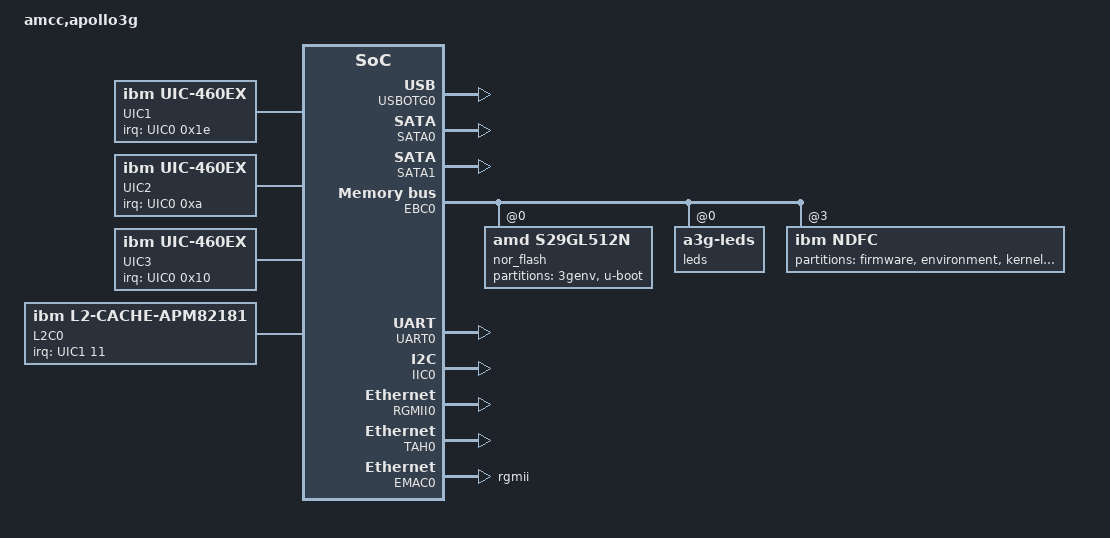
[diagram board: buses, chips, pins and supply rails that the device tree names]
/*
 * Device Tree Source for AMCC Canyonlands (460EX)
 *
 * Copyright 2008 DENX Software Engineering, Stefan Roese <sr@denx.de>
* (c) Copyright 2010 Western Digital Technologies, Inc. All Rights Reserved.
 *
 * This file is licensed under the terms of the GNU General Public
 * License version 2.  This program is licensed "as is" without
 * any warranty of any kind, whether express or implied.
 */

/dts-v1/;

/ {
	#address-cells = <2>;
	#size-cells = <1>;
	model = "amcc,apollo3g";
	compatible = "amcc,apollo3g";
	dcr-parent = <&{/cpus/cpu@0}>;

	aliases {
		ethernet0 = &EMAC0;
		serial0 = &UART0;
	};

	cpus {
		#address-cells = <1>;
		#size-cells = <0>;

		cpu@0 {
			device_type = "cpu";
			model = "PowerPC,apm821xx";
			reg = <0x00000000>;
			clock-frequency = <0>; /* Filled in by U-Boot */
			timebase-frequency = <0>; /* Filled in by U-Boot */
			i-cache-line-size = <32>;
			d-cache-line-size = <32>;
			i-cache-size = <32768>;
			d-cache-size = <32768>;
			dcr-controller;
			dcr-access-method = "native";
			next-level-cache = <&L2C0>;
		};
	};

	memory {
		device_type = "memory";
		reg = <0x00000000 0x00000000 0x00000000>; /* Filled in by U-Boot */
	};

	UIC0: interrupt-controller0 {
		compatible = "ibm,uic-460ex","ibm,uic";
		interrupt-controller;
		cell-index = <0>;
		dcr-reg = <0x0c0 0x009>;
		#address-cells = <0>;
		#size-cells = <0>;
		#interrupt-cells = <2>;
	};

	UIC1: interrupt-controller1 {
		compatible = "ibm,uic-460ex","ibm,uic";
		interrupt-controller;
		cell-index = <1>;
		dcr-reg = <0x0d0 0x009>;
		#address-cells = <0>;
		#size-cells = <0>;
		#interrupt-cells = <2>;
		interrupts = <0x1e 0x4 0x1f 0x4>; /* cascade */
		interrupt-parent = <&UIC0>;
	};

	UIC2: interrupt-controller2 {
		compatible = "ibm,uic-460ex","ibm,uic";
		interrupt-controller;
		cell-index = <2>;
		dcr-reg = <0x0e0 0x009>;
		#address-cells = <0>;
		#size-cells = <0>;
		#interrupt-cells = <2>;
		interrupts = <0xa 0x4 0xb 0x4>; /* cascade */
		interrupt-parent = <&UIC0>;
	};

	UIC3: interrupt-controller3 {
		compatible = "ibm,uic-460ex","ibm,uic";
		interrupt-controller;
		cell-index = <3>;
		dcr-reg = <0x0f0 0x009>;
		#address-cells = <0>;
		#size-cells = <0>;
		#interrupt-cells = <2>;
		interrupts = <0x10 0x4 0x11 0x4>; /* cascade */
		interrupt-parent = <&UIC0>;
	};

	OCM1: ocm@400040000 {
		compatible = "ibm,ocm";
		status = "enabled";
		cell-index = <1>;
		/* configured in U-Boot */
		reg = <4 0x00040000 0x8000>; /* 32K */
	};

	/* TODO: Check this for Maui */
	SDR0: sdr {
		compatible = "ibm,sdr-460ex";
		dcr-reg = <0x00e 0x002>;
	};

	/* TODO: Change for Maui */
	CPR0: cpr {
		compatible = "ibm,cpr-460ex";
		dcr-reg = <0x00c 0x002>;
	};

	L2C0: l2c {
		compatible = "ibm,l2-cache-apm82181", "ibm,l2-cache";
		dcr-reg = <0x020 0x008	
			   0x030 0x008>;	
		cache-line-size = <32>;		
		cache-size = <262144>;		
		interrupt-parent = <&UIC1>;
		interrupts = <11 1>;
	};

	plb {
		compatible = "ibm,plb-460ex", "ibm,plb4";
		#address-cells = <2>;
		#size-cells = <1>;
		ranges;
		clock-frequency = <0>; /* Filled in by U-Boot */

		SDRAM0: sdram {
			compatible = "ibm,sdram-460ex", "ibm,sdram-405gp";
			dcr-reg = <0x010 0x002>;
		};

		CRYPTO: crypto@180000 {
			compatible = "amcc,ppc460ex-crypto", "amcc,ppc4xx-crypto";
			reg = <4 0x00180000 0x80400>;
			interrupt-parent = <&UIC0>;
			interrupts = <0x1d 0x4>;
		};

		PKA: pka@114000 {
			device_type = "pka";
			compatible = "ppc4xx-pka", "amcc, ppc4xx-pka";
			reg = <4 0x00114000 0x4000>;
			interrupt-parent = <&UIC0>;
			interrupts = <0x14 0x2>;
		};

		TRNG: trng@110000 {
			device_type = "trng";
			compatible = "ppc4xx-trng", "amcc, ppc4xx-trng";
			reg = <4 0x00110000 0x100>;
			interrupt-parent = <&UIC1>;
			interrupts = <0x3 0x2>;
		};

		MAL0: mcmal {
			compatible = "ibm,mcmal-460ex", "ibm,mcmal2";
			descriptor-memory = "ocm";
			dcr-reg = <0x180 0x062>;
			num-tx-chans = <1>;
			num-rx-chans = <1>;
			#address-cells = <0>;
			#size-cells = <0>;
			interrupt-parent = <&UIC2>;
			interrupts = <	/*TXEOB*/ 0x6 0x4
					/*RXEOB*/ 0x7 0x4
					/*SERR*/  0x3 0x4
					/*TXDE*/  0x4 0x4
					/*RXDE*/  0x5 0x4
					/*TX0 COAL*/  0x8 0x2
                                        /*TX1 COAL  0x9 0x2*/
                                        /*RX0 COAL*/  0xc 0x2
                                        /*RX1 COAL  0xd 0x2*/>;
		};

                USBOTG0: usbotg@bff80000 {
                        compatible = "amcc,usb-otg-405ex";
                        reg = <4 0xbff80000 0x10000>;
                        interrupt-parent = <&USBOTG0>;
                        interrupts = <0 1 2>; 
                        #interrupt-cells = <1>;
                        #address-cells = <0>;
                        #size-cells = <0>;
                        interrupt-map = </* USB-OTG */ 0 &UIC2 0x1c 4
                                         /* HIGH-POWER */ 1 &UIC1 0x1a 8
                                         /* DMA */ 2 &UIC0 0xc 4>; 
                };  


		/* SATA DWC devices */
		SATA0: sata@bffd1000 {
				compatible = "amcc,sata-460ex";
				reg = <4 0xbffd1000 0x800       /* SATA0 */
					   4 0xbffd0800 0x400>;     /* AHBDMA */
				dma-channel=<0>;
				interrupt-parent = <&UIC0>;
				interrupts = <26 4      /* SATA0 */
							  25 4>;    /* AHBDMA */
		};
		SATA1: sata@bffd1800 {
			compatible = "amcc,sata-460ex";
			reg = <4 0xbffd1800 0x800	/* SATA1 */
			       4 0xbffd0800 0x400>;	/* AHBDMA */
			dma-channel=<1>;
			interrupt-parent = <&UIC0>;
			interrupts = <27 4	/* SATA1 */
				      25 4>;	/* AHBDMA */
		};

		ADMA: adma {
                        compatible = "amcc,apm82181-adma";
                        device_type = "dma";
                        #address-cells = <2>;
                        #size-cells = <1>;

                        /*dma-4channel@0{
                                compatible = "amcc,apm82181-dma-4channel";
                                cell-index = <0>;
                                label = "plb_dma0";
                                interrupt-parent = <&UIC0>;
                                interrupts = <0xc 0x4>;
                                pool_size = <0x4000>;
                                dcr-reg = <0x200 0x207>;
                        };*/
			
                        dma-4channel@1 {
                                compatible = "amcc,apm82181-dma-4channel";
                                cell-index = <1>;
                                label = "plb_dma1";
                                interrupt-parent = <&UIC0>;
                                interrupts = <0xd 0x4>;
                                pool_size = <0x4000>;
                                dcr-reg = <0x208 0x20f>;
                        };
                        dma-4channel@2 {
                                compatible = "amcc,apm82181-dma-4channel";
                                cell-index = <2>;
                                label = "plb_dma2";
                                interrupt-parent = <&UIC0>;
                                interrupts = <0xe 0x4>;
                                pool_size = <0x4000>;
                                dcr-reg = <0x210 0x217>;
                        };
                        dma-4channel@3 {
                                compatible = "amcc,apm82181-dma-4channel";
                                cell-index = <3>;
                                label = "plb_dma3";
                                interrupt-parent = <&UIC0>;
                                interrupts = <0xf 0x4>;
                                pool_size = <0x4000>;
                                dcr-reg = <0x218 0x21f>;
                        };
                };

		POB0: opb {
			compatible = "ibm,opb-460ex", "ibm,opb";
			#address-cells = <1>;
			#size-cells = <1>;
			ranges = <0xb0000000 0x00000004 0xb0000000 0x50000000>;
			clock-frequency = <0>; /* Filled in by U-Boot */

			EBC0: ebc {
				compatible = "ibm,ebc-460ex", "ibm,ebc";
				dcr-reg = <0x012 0x002>;
				#address-cells = <2>;
				#size-cells = <1>;
				clock-frequency = <0>; /* Filled in by U-Boot */
				/* ranges property is supplied by U-Boot */
				ranges = < 0x00000003 0x00000000 0xe0000000 0x8000000>;
				interrupts = <0x6 0x4>;
				interrupt-parent = <&UIC1>;

				/* Define device tree for Apollo3g NAS NOR flash */
                                nor_flash@0,0 {
                                        compatible = "amd,s29gl512n", "jedec-flash", "cfi-flash";
                                        bank-width = <1>;
                                        reg = <0x00000000 0x00000000 0x00080000>;
                                        #address-cells = <1>;
                                        #size-cells = <1>;
                                        partition@0 {
                                                label = "3genv";
                                                reg = <0x00000000 0x20000>;
                                        };  
                                        partition@1 {
                                                label = "u-boot";
                                                reg = <0x20000 0x60000>;
                                        };  
                                };  
				/* Define device tree for LEDs */
                                leds@1,0 {
                                        compatible = "a3g-leds", "gpio_leds";
                                        reg = <0x00000000 0x00000000 0x00000400>;
                                };  

				ndfc@1,0 {
					compatible = "ibm,ndfc";
					reg = <00000003 00000000 00002000>;
					ccr = <0x00001000>;
					bank-settings = <0x80002222>;
					#address-cells = <1>;
					#size-cells = <1>;
					/*2Gb Nand Flash*/
					nand {
                                                #address-cells = <1>;
                                                #size-cells = <1>;

                                                partition@0 {
                                                        label = "firmware";
                                                        reg   = <0x00000000 0x00C00000>;
                                                };
                                                partition@c00000 {
                                                        label = "environment";
                                                        reg   = <0x00C00000 0x00B00000>;
                                                };
                                                partition@1700000 {
                                                        label = "kernel";
                                                        reg   = <0x01700000 0x00E00000>;
                                                };
                                                partition@2500000 {
                                                        label = "root";
                                                        reg   = <0x02500000 0x08200000>;
                                                };
                                                partition@a700000 {
                                                        label = "device-tree";
                                                        reg   = <0x0A700000 0x00B00000>;
                                                };
						 partition@b200000 {
                                                        label = "config";
                                                        reg   = <0x0B200000 0x00D00000>;
                                                };
                                                partition@bf00000 {
                                                        label = "diag";
                                                        reg   = <0x0BF00000 0x00C00000>;
                                                };
                                                partition@cb00000 {
                                                        label = "vendor";
                                                        reg   = <0x0CB00000 0x3500000>;
                                                };
					};
				};
			};

			UART0: serial@ef600300 {
				device_type = "serial";
				compatible = "ns16550";
				reg = <0xef600300 0x00000008>;
				virtual-reg = <0xef600300>;
				clock-frequency = <0>; /* Filled in by U-Boot */
				current-speed = <0>; /* Filled in by U-Boot */
				interrupt-parent = <&UIC1>;
				interrupts = <0x1 0x4>;
			};

			IIC0: i2c@ef600700 {
				compatible = "ibm,iic-460ex", "ibm,iic";
				reg = <0xef600700 0x00000014>;
				interrupt-parent = <&UIC0>;
				interrupts = <0x2 0x4>;
			};

			RGMII0: emac-rgmii@ef601500 {
				compatible = "ibm,rgmii-405ex", "ibm,rgmii";
				reg = <0xef601500 0x00000008>;
				has-mdio;
			};

			TAH0: emac-tah@ef601350 {
				compatible = "ibm,tah-460ex", "ibm,tah";
				reg = <0xef601350 0x00000030>;
			};

			/* TODO: Change for Maui */
			EMAC0: ethernet@ef600c00 {
				device_type = "network";
				compatible = "ibm,emac-405ex", "ibm,emac4sync";
				interrupt-parent = <&EMAC0>;
				interrupts = <0x0 0x1>;
				#interrupt-cells = <1>;
				#address-cells = <0>;
				#size-cells = <0>;
				interrupt-map = </*Status*/ 0x0 &UIC2 0x10 0x4
						 /*Wake*/   0x1 &UIC2 0x14 0x4>;
				reg = <0xef600c00 0x000000c4>;
				local-mac-address = [000000000000]; /* Filled in by U-Boot */
				mal-device = <&MAL0>;
				mal-tx-channel = <0>;
				mal-rx-channel = <0>;
				cell-index = <0>;
				max-frame-size = <9000>;
				rx-fifo-size = <16384>;
				tx-fifo-size = <2048>;
				phy-mode = "rgmii";
				phy-map = <0x00000000>;
				rgmii-device = <&RGMII0>;
				rgmii-channel = <0>;
				tah-device = <&TAH0>;
				tah-channel = <0>;
				has-inverted-stacr-oc;
				has-new-stacr-staopc;
			};
		};

		DMA: plb_dma@400300200 {
			#address-cells = <1>;
			#size-cells = <1>;
			compatible = "amcc,dma";
			cell-index = <0>;
			reg = <4 00300200 200>;
			dcr-reg = <0x100 0x13f>;
			interrupt-parent = <&UIC0>;
			interrupts = <0 1 2 3>;
			interrupt-map = < /*chan 0*/ 0 &UIC0 12 4
					  /* chan1*/ 1 &UIC0 13 4
					  /* chan2*/ 2 &UIC0 14 4
					  /* chan3*/ 3 &UIC0 15 4>;


			dma-4channel@0{
				compatible = "amcc,dma-4channel";
				cell-index = <0>;
				label = "channel0";
				reg = <0x100 0x107>;
			};
			/*
			dma-4channel@1 {
				compatible = "amcc,dma-4channel";
				cell-index = <1>;
				label = "channel1";
				reg = <0x108 0x10f>;
			};
			dma-4channel@2 {
				compatible = "amcc,dma-4channel";
				cell-index = <2>;
				label = "channel2";
				reg = <0x110 0x117>;
			};
			dma-4channel@3 {
				compatible = "amcc,dma-4channel";
				cell-index = <3>;
				label = "channel3";
				reg = <0x118 0x11f>;
			};
			*/
		};

	};
};
